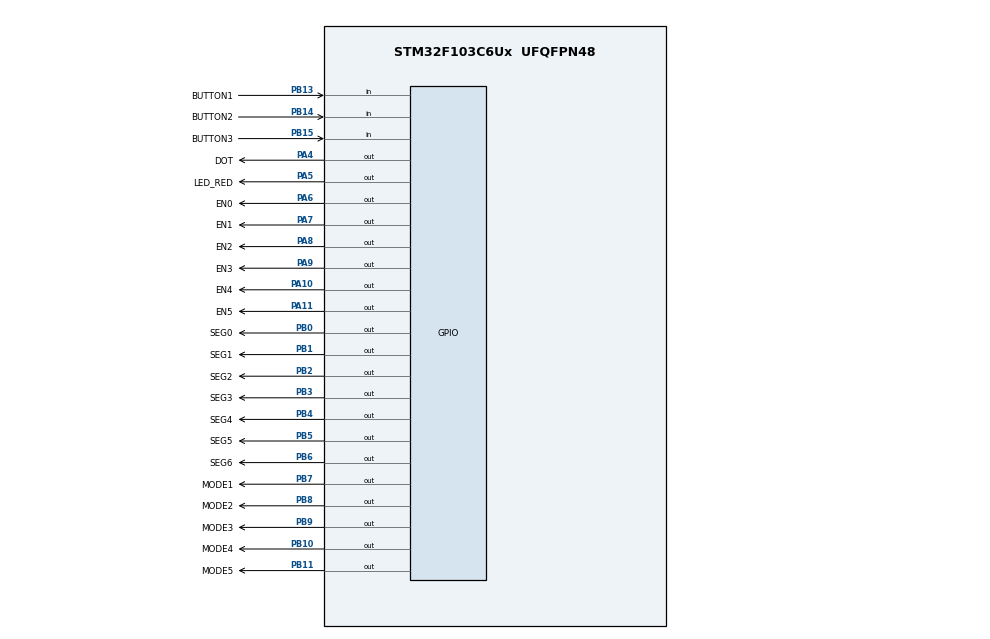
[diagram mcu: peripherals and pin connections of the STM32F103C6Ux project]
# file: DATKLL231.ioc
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Mcu.Family=STM32F1
Mcu.Name=STM32F103C6Ux
Mcu.Package=UFQFPN48
NVIC.PriorityGroup=NVIC_PRIORITYGROUP_4
NVIC.TIM2_IRQn=true\:0\:0\:false\:false\:true\:true\:true
PA10.GPIO_Label=EN4
PA10.Signal=GPIO_Output
PA11.GPIO_Label=EN5
PA11.Signal=GPIO_Output
PA4.GPIO_Label=DOT
PA4.Signal=GPIO_Output
PA5.GPIO_Label=LED_RED
PA5.Signal=GPIO_Output
PA6.GPIO_Label=EN0
PA6.Signal=GPIO_Output
PA7.GPIO_Label=EN1
PA7.Signal=GPIO_Output
PA8.GPIO_Label=EN2
PA8.Signal=GPIO_Output
PA9.GPIO_Label=EN3
PA9.Signal=GPIO_Output
PB0.GPIO_Label=SEG0
PB0.Signal=GPIO_Output
PB1.GPIO_Label=SEG1
PB1.Signal=GPIO_Output
PB10.GPIO_Label=MODE4
PB10.Signal=GPIO_Output
PB11.GPIO_Label=MODE5
PB11.Signal=GPIO_Output
PB13.GPIO_Label=BUTTON1
PB13.GPIO_PuPd=GPIO_PULLUP
PB13.Signal=GPIO_Input
PB14.GPIO_Label=BUTTON2
PB14.GPIO_PuPd=GPIO_PULLUP
PB14.Signal=GPIO_Input
PB15.GPIO_Label=BUTTON3
PB15.GPIO_PuPd=GPIO_PULLUP
PB15.Signal=GPIO_Input
PB2.GPIO_Label=SEG2
PB2.Signal=GPIO_Output
PB3.GPIO_Label=SEG3
PB3.Signal=GPIO_Output
PB4.GPIO_Label=SEG4
PB4.Signal=GPIO_Output
PB5.GPIO_Label=SEG5
PB5.Signal=GPIO_Output
PB6.GPIO_Label=SEG6
PB6.Signal=GPIO_Output
PB7.GPIO_Label=MODE1
PB7.Signal=GPIO_Output
PB8.GPIO_Label=MODE2
PB8.Signal=GPIO_Output
PB9.GPIO_Label=MODE3
PB9.Signal=GPIO_Output
ProjectManager.HeapSize=0x200
ProjectManager.StackSize=0x400
ProjectManager.TargetToolchain=STM32CubeIDE
RCC.APB1Freq_Value=8000000
RCC.APB2Freq_Value=8000000
TIM2.Period=9
TIM2.Prescaler=7999
VP_SYS_VS_ND.Mode=No_Debug
VP_TIM2_VS_ClockSourceINT.Mode=Internal
board=custom

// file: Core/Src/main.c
/* USER CODE BEGIN Header */
/**
  ******************************************************************************
  * @file           : main.c
  * @brief          : Main program body
  ******************************************************************************
  * @attention
  *
  * <h2><center>&copy; Copyright (c) 2023 STMicroelectronics.
  * All rights reserved.</center></h2>
  *
  * This software component is licensed by ST under BSD 3-Clause license,
  * the "License"; You may not use this file except in compliance with the
  * License. You may obtain a copy of the License at:
  *                        opensource.org/licenses/BSD-3-Clause
  *
  ******************************************************************************
  */
/* USER CODE END Header */
#include "main.h"

/* USER CODE BEGIN Includes */
#include "global.h"
#include "button.h"
#include "scheduler.h"
#include "display7SEG.h"
/* USER CODE END Includes */

TIM_HandleTypeDef htim2;

void SystemClock_Config(void);
static void MX_GPIO_Init(void);
static void MX_TIM2_Init(void);

/* USER CODE BEGIN 0 */
void blinkydot(){
	//Set the DOT_LED toggle
	HAL_GPIO_TogglePin(DOT_GPIO_Port, DOT_Pin);
}

void update_time(){
	sec+=1;
	if (sec >= 60){
		sec = 0;
		min += 1;
	}
	if (min >= 60){
		min = 0;
		hour += 1;
	}
	if (hour >= 24){
		hour = 0;
		day += 1;
		if (day > 31){
			day = 1;
			month += 1;
			if (month > 12) {
				month = 1;
				year += 1;
			}
		}
		else if ((month == 4 || month == 6 || month == 9 || month == 11) && day > 30) {
			day = 1;
			month += 1;
		}
		else if (month == 2) {
			// Check for leap year
			if ((year % 4 == 0 && year % 100 != 0) || (year % 400 == 0)) {
				if (day > 29) {
					day = 1;
					month += 1;
				}
			}
			else {
				if (day > 28) {
					day = 1;
					month += 1;
				}
			}
		}
	}
}

void alarm(){
	//Compare the condition for the alarm mode
	if (hour == hour_alarm && min == min_alarm && ((sec - sec_alarm) >=0  && (sec - sec_alarm) < 11)){
		HAL_GPIO_WritePin(LED_RED_GPIO_Port, LED_RED_Pin, GPIO_PIN_RESET);
	}
	else HAL_GPIO_WritePin(LED_RED_GPIO_Port, LED_RED_Pin, GPIO_PIN_SET);
	//Set button to turn off alarm
	if (isButtonPressed(2) == 1){
		HAL_GPIO_WritePin(LED_RED_GPIO_Port, LED_RED_Pin, GPIO_PIN_SET);
	}
}

void fsm_run(){
	switch (status){
		case INIT:
			status = MODE1;
			break;
		//MODE1
		case MODE1:
			//Set LED for being in MODE1
			HAL_GPIO_WritePin(MODE1_GPIO_Port, MODE1_Pin, GPIO_PIN_RESET);
			HAL_GPIO_WritePin(MODE5_GPIO_Port, MODE5_Pin, GPIO_PIN_SET);
			//Update LED to display hour, minute, second
			updateLedBufferMode1();
			if (isButtonPressed(0)) status = MODE2;
			if (isButtonPressed(1)) status = MODE5s;
			break;
		case MODE5s:
			//Update LED to display day, month, year
			updateLedBufferMode2();
			if (isButtonPressed(0)) status = MODE2;
			dmy5stime++; //Increase the counter of MODE_5s
			//If already displayed in 5s, return to MODE1
			if (dmy5stime >= DMY_DISPLAY_TIME){
				dmy5stime = 0;
				status = MODE1;
			}
			break;
		//MODE2
		case MODE2:
			//Set LED for being in MODE2
			HAL_GPIO_WritePin(MODE1_GPIO_Port, MODE1_Pin, GPIO_PIN_SET);
			HAL_GPIO_WritePin(MODE2_GPIO_Port, MODE2_Pin, GPIO_PIN_RESET);
			updateLedBufferMode2();
			if (isButtonPressed(0)) status = MODE3;
			break;
		//MODE3
		case MODE3:
			//Set LED for being in MODE3
			HAL_GPIO_WritePin(MODE2_GPIO_Port, MODE2_Pin, GPIO_PIN_SET);
			HAL_GPIO_WritePin(MODE3_GPIO_Port, MODE3_Pin, GPIO_PIN_RESET);
			//Update LED to display hour, minute, second
			updateLedBufferMode1();
			if (isButtonPressed(0)) status = MODE4;
			if (isButtonPressed(1)) MAX_HOUR = 24; //Chuyển sang hiển thị chế độ giờ 24
			if (isButtonPressed(2)) MAX_HOUR = 12; //Chuyển sang hiển thị chế độ giờ 12
			break;
		//MODE4
		case MODE4:
			//Set LED for being in MODE4
			HAL_GPIO_WritePin(MODE3_GPIO_Port, MODE3_Pin, GPIO_PIN_SET);
			HAL_GPIO_WritePin(MODE4_GPIO_Port, MODE4_Pin, GPIO_PIN_RESET);
			//Update LED to display hour, minute, second of the alarm
			updateLedBufferMode4();
			if (isButtonPressed(0)) status = MODE5;
			if (isButtonPressed(1)) status = INC_HOUR; //Switch to set hour of the alarm
			break;
		//SET UP ALARM
		case INC_HOUR:
			if (isButtonPressed(1)) status = INC_MIN; //Switch to set minute of the alarm
			//Increase hour of the alarm (1 unit)
			if (isButtonPressed(2)){
				hour_alarm += 1;
				if(hour_alarm >= MAX_HOUR) hour_alarm = 0;
				updateLedBufferMode4();
			}
			if (isButtonPressed(0)) status = MODE5;
			break;
		case INC_MIN:
			if (isButtonPressed(1)) status = INC_SEC; //Switch to set second of the alarm
			//Increase minute of the alarm (1 unit)
			if (isButtonPressed(2)){
				min_alarm += 1;
				if(min_alarm >= 60) min_alarm = 0;
				updateLedBufferMode4();
			}
			if (isButtonPressed(0)) status = MODE5;
			break;
		case INC_SEC:
			if (isButtonPressed(1)) status = INC_HOUR; //Switch to set hour of the alarm
			//Increase second of the alarm (1 unit)
			if (isButtonPressed(2)){
				sec_alarm += 1;
				if(sec_alarm >= 60) sec_alarm = 0;
				updateLedBufferMode4();
			}
			if (isButtonPressed(0)) status = MODE5;
			break;
		//MODE5
		case MODE5:
			//Set LED for being in MODE5
			HAL_GPIO_WritePin(MODE4_GPIO_Port, MODE4_Pin, GPIO_PIN_SET);
			HAL_GPIO_WritePin(MODE5_GPIO_Port, MODE5_Pin, GPIO_PIN_RESET);
			//Update LED to display hour, minute, second
			updateLedBufferMode1();
			if (isButtonPressed(0)) status = MODE1;
			if (isButtonPressed(1)) status = INC_MODE; //Switch to increase time zone MODE
			break;
		//SET UP TIMEZONE
		case INC_MODE:
			if (isButtonPressed(0)) status = MODE1;
			//Increase time zone (1 unit)
			if (isButtonPressed(1)){
				hour += 1;
				if (hour >= MAX_HOUR) hour = 0;
				updateLedBufferMode1();
			}
			//Decrease time zone, switch to decrease time zone MODE
			if (isButtonPressed(2)){
				status = DEC_MODE;
				hour -= 1;
				if (hour < 0) hour = MAX_HOUR - 1;
				updateLedBufferMode1();
			}
			break;
		case DEC_MODE:
			if (isButtonPressed(0)) status = MODE1;
			//Increase time zone, switch to increase time zone MODE
			if (isButtonPressed(1)){
				status = INC_MODE;
				hour += 1;
				if (hour >= MAX_HOUR) hour = 0;
				updateLedBufferMode1();
			}
			//Decrease time zone (1 unit)
			if (isButtonPressed(2)){
				hour -= 1;
				if (hour < 0) hour = MAX_HOUR - 1;
				updateLedBufferMode1();
			}
			break;
		default:
			break;
	}
}

void scanLED(){
	//Display the LED
	update7SEG(index_led);
}
/* USER CODE END 0 */

int main(void)
{

  /* MCU Configuration--------------------------------------------------------*/

  /* Reset of all peripherals, Initializes the Flash interface and the Systick. */
  HAL_Init();

  /* Configure the system clock */
  SystemClock_Config();

  /* Initialize all configured peripherals */
  MX_GPIO_Init();
  MX_TIM2_Init();
  /* USER CODE BEGIN 2 */
  HAL_TIM_Base_Start_IT (& htim2);
  SCH_Init();
  //Add Task to Scheduler
  SCH_Add_Task(blinkydot, 10, 500); //Task for toggle 2 DOT_LEDs
  SCH_Add_Task(update_time, 0, 1200); // Task for update time
  SCH_Add_Task(scanLED, 20, 200); //Task for LEDs display
  SCH_Add_Task(fsm_run, 0, 10); //Main task
  SCH_Add_Task(alarm, 10, 1200); //Task for set up alarm
  //Initialize
  HAL_GPIO_WritePin(LED_RED_GPIO_Port, LED_RED_Pin, GPIO_PIN_SET);
  HAL_GPIO_WritePin(MODE1_GPIO_Port, MODE1_Pin, GPIO_PIN_SET);
  HAL_GPIO_WritePin(MODE2_GPIO_Port, MODE2_Pin, GPIO_PIN_SET);
  HAL_GPIO_WritePin(MODE3_GPIO_Port, MODE3_Pin, GPIO_PIN_SET);
  HAL_GPIO_WritePin(MODE4_GPIO_Port, MODE4_Pin, GPIO_PIN_SET);
  HAL_GPIO_WritePin(MODE5_GPIO_Port, MODE5_Pin, GPIO_PIN_SET);

  /* USER CODE END 2 */

  /* Infinite loop */
  while (1)
  {

    /* USER CODE BEGIN 3 */
	  SCH_Dispatch_Tasks();
  }
  /* USER CODE END 3 */
}

void SystemClock_Config(void)
{
  RCC_OscInitTypeDef RCC_OscInitStruct = {0};
  RCC_ClkInitTypeDef RCC_ClkInitStruct = {0};

  /** Initializes the RCC Oscillators according to the specified parameters
  * in the RCC_OscInitTypeDef structure.
  */
  RCC_OscInitStruct.OscillatorType = RCC_OSCILLATORTYPE_HSI;
  RCC_OscInitStruct.HSIState = RCC_HSI_ON;
  RCC_OscInitStruct.HSICalibrationValue = RCC_HSICALIBRATION_DEFAULT;
  RCC_OscInitStruct.PLL.PLLState = RCC_PLL_NONE;
  if (HAL_RCC_OscConfig(&RCC_OscInitStruct) != HAL_OK)
  {
    Error_Handler();
  }
  /** Initializes the CPU, AHB and APB buses clocks
  */
  RCC_ClkInitStruct.ClockType = RCC_CLOCKTYPE_HCLK|RCC_CLOCKTYPE_SYSCLK
                              |RCC_CLOCKTYPE_PCLK1|RCC_CLOCKTYPE_PCLK2;
  RCC_ClkInitStruct.SYSCLKSource = RCC_SYSCLKSOURCE_HSI;
  RCC_ClkInitStruct.AHBCLKDivider = RCC_SYSCLK_DIV1;
  RCC_ClkInitStruct.APB1CLKDivider = RCC_HCLK_DIV1;
  RCC_ClkInitStruct.APB2CLKDivider = RCC_HCLK_DIV1;

  if (HAL_RCC_ClockConfig(&RCC_ClkInitStruct, FLASH_LATENCY_0) != HAL_OK)
  {
    Error_Handler();
  }
}

static void MX_TIM2_Init(void)
{

  TIM_ClockConfigTypeDef sClockSourceConfig = {0};
  TIM_MasterConfigTypeDef sMasterConfig = {0};

  htim2.Instance = TIM2;
  htim2.Init.Prescaler = 7999;
  htim2.Init.CounterMode = TIM_COUNTERMODE_UP;
  htim2.Init.Period = 9;
  htim2.Init.ClockDivision = TIM_CLOCKDIVISION_DIV1;
  htim2.Init.AutoReloadPreload = TIM_AUTORELOAD_PRELOAD_DISABLE;
  if (HAL_TIM_Base_Init(&htim2) != HAL_OK)
  {
    Error_Handler();
  }
  sClockSourceConfig.ClockSource = TIM_CLOCKSOURCE_INTERNAL;
  if (HAL_TIM_ConfigClockSource(&htim2, &sClockSourceConfig) != HAL_OK)
  {
    Error_Handler();
  }
  sMasterConfig.MasterOutputTrigger = TIM_TRGO_RESET;
  sMasterConfig.MasterSlaveMode = TIM_MASTERSLAVEMODE_DISABLE;
  if (HAL_TIMEx_MasterConfigSynchronization(&htim2, &sMasterConfig) != HAL_OK)
  {
    Error_Handler();
  }
  /* USER CODE BEGIN TIM2_Init 2 */
  TIME_CYCLE = 1/(8e6/(htim2.Init.Prescaler + 1)/(htim2.Init.Period + 1)) * 1000; // Time cycle
  /* USER CODE END TIM2_Init 2 */

}

static void MX_GPIO_Init(void)
{
  GPIO_InitTypeDef GPIO_InitStruct = {0};

  /* GPIO Ports Clock Enable */
  __HAL_RCC_GPIOA_CLK_ENABLE();
  __HAL_RCC_GPIOB_CLK_ENABLE();

  /*Configure GPIO pin Output Level */
  HAL_GPIO_WritePin(GPIOA, DOT_Pin|LED_RED_Pin|EN0_Pin|EN1_Pin
                          |EN2_Pin|EN3_Pin|EN4_Pin|EN5_Pin, GPIO_PIN_RESET);

  /*Configure GPIO pin Output Level */
  HAL_GPIO_WritePin(GPIOB, SEG0_Pin|SEG1_Pin|SEG2_Pin|MODE4_Pin
                          |MODE5_Pin|SEG3_Pin|SEG4_Pin|SEG5_Pin
                          |SEG6_Pin|MODE1_Pin|MODE2_Pin|MODE3_Pin, GPIO_PIN_RESET);

  /*Configure GPIO pins : DOT_Pin LED_RED_Pin EN0_Pin EN1_Pin
                           EN2_Pin EN3_Pin EN4_Pin EN5_Pin */
  GPIO_InitStruct.Pin = DOT_Pin|LED_RED_Pin|EN0_Pin|EN1_Pin
                          |EN2_Pin|EN3_Pin|EN4_Pin|EN5_Pin;
  GPIO_InitStruct.Mode = GPIO_MODE_OUTPUT_PP;
  GPIO_InitStruct.Pull = GPIO_NOPULL;
  GPIO_InitStruct.Speed = GPIO_SPEED_FREQ_LOW;
  HAL_GPIO_Init(GPIOA, &GPIO_InitStruct);

  /*Configure GPIO pins : SEG0_Pin SEG1_Pin SEG2_Pin MODE4_Pin
                           MODE5_Pin SEG3_Pin SEG4_Pin SEG5_Pin
                           SEG6_Pin MODE1_Pin MODE2_Pin MODE3_Pin */
  GPIO_InitStruct.Pin = SEG0_Pin|SEG1_Pin|SEG2_Pin|MODE4_Pin
                          |MODE5_Pin|SEG3_Pin|SEG4_Pin|SEG5_Pin
                          |SEG6_Pin|MODE1_Pin|MODE2_Pin|MODE3_Pin;
  GPIO_InitStruct.Mode = GPIO_MODE_OUTPUT_PP;
  GPIO_InitStruct.Pull = GPIO_NOPULL;
  GPIO_InitStruct.Speed = GPIO_SPEED_FREQ_LOW;
  HAL_GPIO_Init(GPIOB, &GPIO_InitStruct);

  /*Configure GPIO pins : BUTTON1_Pin BUTTON2_Pin BUTTON3_Pin */
  GPIO_InitStruct.Pin = BUTTON1_Pin|BUTTON2_Pin|BUTTON3_Pin;
  GPIO_InitStruct.Mode = GPIO_MODE_INPUT;
  GPIO_InitStruct.Pull = GPIO_PULLUP;
  HAL_GPIO_Init(GPIOB, &GPIO_InitStruct);

}

/* USER CODE BEGIN 4 */
void HAL_TIM_PeriodElapsedCallback(TIM_HandleTypeDef * htim){
	SCH_Update();
	getKeyInput();
}
/* USER CODE END 4 */

void Error_Handler(void)
{
  __disable_irq();
  while (1)
  {
  }
}

/************************ (C) COPYRIGHT STMicroelectronics *****END OF FILE****/
